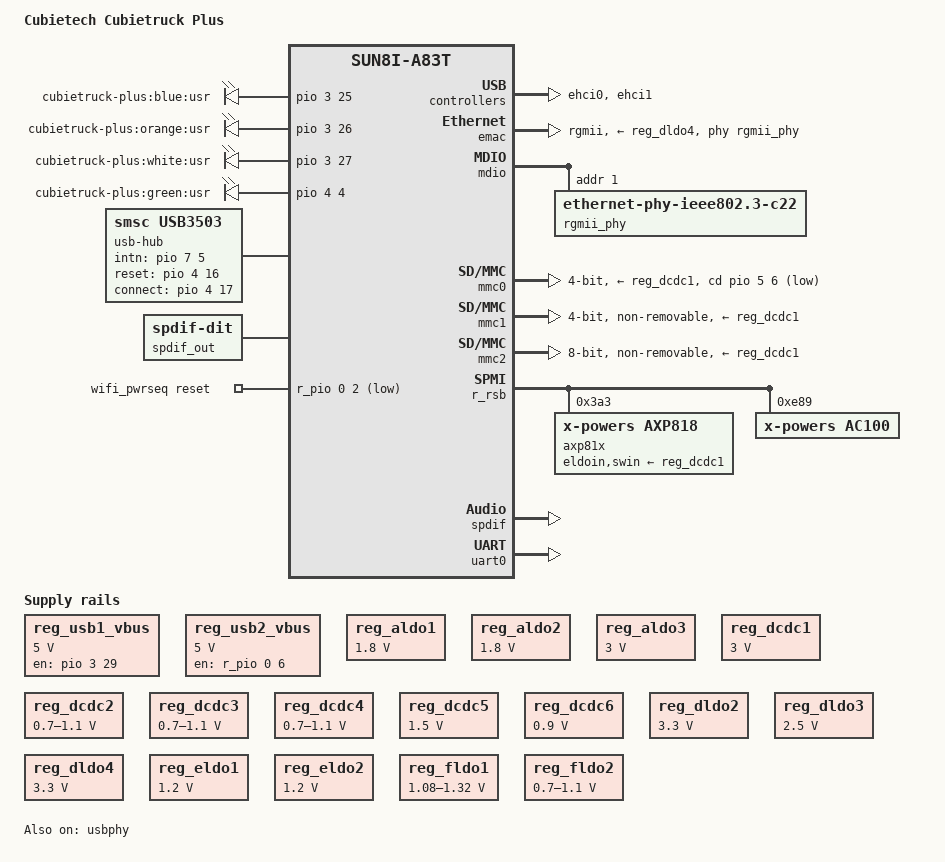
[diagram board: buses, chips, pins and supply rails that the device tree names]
/*
 * Copyright 2015 Chen-Yu Tsai
 *
 * Chen-Yu Tsai <wens@csie.org>
 *
 * This file is dual-licensed: you can use it either under the terms
 * of the GPL or the X11 license, at your option. Note that this dual
 * licensing only applies to this file, and not this project as a
 * whole.
 *
 *  a) This file is free software; you can redistribute it and/or
 *     modify it under the terms of the GNU General Public License as
 *     published by the Free Software Foundation; either version 2 of the
 *     License, or (at your option) any later version.
 *
 *     This file is distributed in the hope that it will be useful,
 *     but WITHOUT ANY WARRANTY; without even the implied warranty of
 *     MERCHANTABILITY or FITNESS FOR A PARTICULAR PURPOSE.  See the
 *     GNU General Public License for more details.
 *
 * Or, alternatively,
 *
 *  b) Permission is hereby granted, free of charge, to any person
 *     obtaining a copy of this software and associated documentation
 *     files (the "Software"), to deal in the Software without
 *     restriction, including without limitation the rights to use,
 *     copy, modify, merge, publish, distribute, sublicense, and/or
 *     sell copies of the Software, and to permit persons to whom the
 *     Software is furnished to do so, subject to the following
 *     conditions:
 *
 *     The above copyright notice and this permission notice shall be
 *     included in all copies or substantial portions of the Software.
 *
 *     THE SOFTWARE IS PROVIDED "AS IS", WITHOUT WARRANTY OF ANY KIND,
 *     EXPRESS OR IMPLIED, INCLUDING BUT NOT LIMITED TO THE WARRANTIES
 *     OF MERCHANTABILITY, FITNESS FOR A PARTICULAR PURPOSE AND
 *     NONINFRINGEMENT. IN NO EVENT SHALL THE AUTHORS OR COPYRIGHT
 *     HOLDERS BE LIABLE FOR ANY CLAIM, DAMAGES OR OTHER LIABILITY,
 *     WHETHER IN AN ACTION OF CONTRACT, TORT OR OTHERWISE, ARISING
 *     FROM, OUT OF OR IN CONNECTION WITH THE SOFTWARE OR THE USE OR
 *     OTHER DEALINGS IN THE SOFTWARE.
 */

/dts-v1/;
#include "sun8i-a83t.dtsi"

#include <dt-bindings/gpio/gpio.h>

/ {
	model = "Cubietech Cubietruck Plus";
	compatible = "cubietech,cubietruck-plus", "allwinner,sun8i-a83t";

	aliases {
		ethernet0 = &emac;
		serial0 = &uart0;
	};

	chosen {
		stdout-path = "serial0:115200n8";
	};

	leds {
		compatible = "gpio-leds";

		blue {
			label = "cubietruck-plus:blue:usr";
			gpios = <&pio 3 25 GPIO_ACTIVE_HIGH>; /* PD25 */
		};

		orange {
			label = "cubietruck-plus:orange:usr";
			gpios = <&pio 3 26 GPIO_ACTIVE_HIGH>; /* PD26 */
		};

		white {
			label = "cubietruck-plus:white:usr";
			gpios = <&pio 3 27 GPIO_ACTIVE_HIGH>; /* PD27 */
		};

		green {
			label = "cubietruck-plus:green:usr";
			gpios = <&pio 4 4 GPIO_ACTIVE_HIGH>; /* PE4 */
		};
	};

	usb-hub {
		/* I2C is not connected */
		compatible = "smsc,usb3503";
		initial-mode = <1>; /* initialize in HUB mode */
		disabled-ports = <1>;
		intn-gpios = <&pio 7 5 GPIO_ACTIVE_HIGH>; /* PH5 */
		reset-gpios = <&pio 4 16 GPIO_ACTIVE_HIGH>; /* PE16 */
		connect-gpios = <&pio 4 17 GPIO_ACTIVE_HIGH>; /* PE17 */
		refclk-frequency = <19200000>;
	};

	reg_usb1_vbus: reg-usb1-vbus {
		compatible = "regulator-fixed";
		regulator-name = "usb1-vbus";
		regulator-min-microvolt = <5000000>;
		regulator-max-microvolt = <5000000>;
		regulator-boot-on;
		enable-active-high;
		gpio = <&pio 3 29 GPIO_ACTIVE_HIGH>; /* PD29 */
	};

	reg_usb2_vbus: reg-usb2-vbus {
		compatible = "regulator-fixed";
		regulator-name = "usb2-vbus";
		regulator-min-microvolt = <5000000>;
		regulator-max-microvolt = <5000000>;
		regulator-boot-on;
		enable-active-high;
		gpio = <&r_pio 0 6 GPIO_ACTIVE_HIGH>; /* PL6 */
	};

	sound {
		compatible = "simple-audio-card";
		simple-audio-card,name = "On-board SPDIF";

		simple-audio-card,cpu {
			sound-dai = <&spdif>;
		};

		simple-audio-card,codec {
			sound-dai = <&spdif_out>;
		};
	};

	spdif_out: spdif-out {
		#sound-dai-cells = <0>;
		compatible = "linux,spdif-dit";
	};

	wifi_pwrseq: wifi_pwrseq {
		compatible = "mmc-pwrseq-simple";
		clocks = <&ac100_rtc 1>;
		clock-names = "ext_clock";
		/* The WiFi low power clock must be 32768 Hz */
		assigned-clocks = <&ac100_rtc 1>;
		assigned-clock-rates = <32768>;
		/* enables internal regulator and de-asserts reset */
		reset-gpios = <&r_pio 0 2 GPIO_ACTIVE_LOW>; /* PL2 WL-PMU-EN */
	};
};

&ehci0 {
	/* GL830 USB-to-SATA bridge here */
	status = "okay";
};

&ehci1 {
	/* USB3503 HSIC USB 2.0 hub here */
	status = "okay";
};

&emac {
	pinctrl-names = "default";
	pinctrl-0 = <&emac_rgmii_pins>;
	phy-supply = <&reg_dldo4>;
	phy-handle = <&rgmii_phy>;
	phy-mode = "rgmii";
	status = "okay";
};

&mdio {
	rgmii_phy: ethernet-phy@1 {
		compatible = "ethernet-phy-ieee802.3-c22";
		reg = <1>;
	};
};

&mmc0 {
	pinctrl-names = "default";
	pinctrl-0 = <&mmc0_pins>;
	vmmc-supply = <&reg_dcdc1>;
	bus-width = <4>;
	cd-gpios = <&pio 5 6 GPIO_ACTIVE_LOW>; /* PF6 */
	status = "okay";
};

&mmc1 {
	vmmc-supply = <&reg_dcdc1>;
	vqmmc-supply = <&reg_sw>;
	mmc-pwrseq = <&wifi_pwrseq>;
	bus-width = <4>;
	non-removable;
	status = "okay";
};

&mmc2 {
	pinctrl-names = "default";
	pinctrl-0 = <&mmc2_8bit_emmc_pins>;
	vmmc-supply = <&reg_dcdc1>;
	bus-width = <8>;
	non-removable;
	cap-mmc-hw-reset;
	status = "okay";
};

&r_rsb {
	status = "okay";

	axp81x: pmic@3a3 {
		compatible = "x-powers,axp818", "x-powers,axp813";
		reg = <0x3a3>;
		interrupt-parent = <&r_intc>;
		interrupts = <0 IRQ_TYPE_LEVEL_LOW>;
		eldoin-supply = <&reg_dcdc1>;
		swin-supply = <&reg_dcdc1>;
		x-powers,drive-vbus-en;
	};

	ac100: codec@e89 {
		compatible = "x-powers,ac100";
		reg = <0xe89>;

		ac100_codec: codec {
			compatible = "x-powers,ac100-codec";
			interrupt-parent = <&r_pio>;
			interrupts = <0 11 IRQ_TYPE_LEVEL_LOW>; /* PL11 */
			#clock-cells = <0>;
			clock-output-names = "4M_adda";
		};

		ac100_rtc: rtc {
			compatible = "x-powers,ac100-rtc";
			interrupt-parent = <&r_intc>;
			interrupts = <0 IRQ_TYPE_LEVEL_LOW>;
			clocks = <&ac100_codec>;
			#clock-cells = <1>;
			clock-output-names = "cko1_rtc",
					     "cko2_rtc",
					     "cko3_rtc";
		};
	};
};

#include "axp81x.dtsi"

&reg_aldo1 {
	regulator-always-on;
	regulator-min-microvolt = <1800000>;
	regulator-max-microvolt = <1800000>;
	regulator-name = "vcc-1v8";
};

&reg_aldo2 {
	regulator-always-on;
	regulator-min-microvolt = <1800000>;
	regulator-max-microvolt = <1800000>;
	regulator-name = "dram-pll";
};

&reg_aldo3 {
	regulator-always-on;
	regulator-min-microvolt = <3000000>;
	regulator-max-microvolt = <3000000>;
	regulator-name = "avcc";
};

&reg_dcdc1 {
	/*
	 * The schematics say this should be 3.3V, but the FEX file says
	 * it should be 3V. The latter makes sense, as the WiFi module's
	 * I/O is indirectly powered from DCDC1, through SW. It is rated
	 * at 2.98V maximum.
	 */
	regulator-always-on;
	regulator-min-microvolt = <3000000>;
	regulator-max-microvolt = <3000000>;
	regulator-name = "vcc-3v";
};

&reg_dcdc2 {
	regulator-always-on;
	regulator-min-microvolt = <700000>;
	regulator-max-microvolt = <1100000>;
	regulator-name = "vdd-cpua";
};

&reg_dcdc3 {
	regulator-always-on;
	regulator-min-microvolt = <700000>;
	regulator-max-microvolt = <1100000>;
	regulator-name = "vdd-cpub";
};

&reg_dcdc4 {
	regulator-min-microvolt = <700000>;
	regulator-max-microvolt = <1100000>;
	regulator-name = "vdd-gpu";
};

&reg_dcdc5 {
	regulator-always-on;
	regulator-min-microvolt = <1500000>;
	regulator-max-microvolt = <1500000>;
	regulator-name = "vcc-dram";
};

&reg_dcdc6 {
	regulator-always-on;
	regulator-min-microvolt = <900000>;
	regulator-max-microvolt = <900000>;
	regulator-name = "vdd-sys";
};

&reg_dldo2 {
	regulator-min-microvolt = <3300000>;
	regulator-max-microvolt = <3300000>;
	regulator-name = "dp-pwr";
};

&reg_dldo3 {
	regulator-always-on;
	regulator-min-microvolt = <2500000>;
	regulator-max-microvolt = <2500000>;
	regulator-name = "ephy-io";
};

&reg_dldo4 {
	/*
	 * The PHY requires 20ms after all voltages are applied until core
	 * logic is ready and 30ms after the reset pin is de-asserted.
	 * Set a 100ms delay to account for PMIC ramp time and board traces.
	 */
	regulator-enable-ramp-delay = <100000>;
	regulator-min-microvolt = <3300000>;
	regulator-max-microvolt = <3300000>;
	regulator-name = "ephy";
};

&reg_drivevbus {
	regulator-name = "usb0-vbus";
	status = "okay";
};

&reg_eldo1 {
	regulator-min-microvolt = <1200000>;
	regulator-max-microvolt = <1200000>;
	regulator-name = "dp-bridge-1";
};

&reg_eldo2 {
	regulator-min-microvolt = <1200000>;
	regulator-max-microvolt = <1200000>;
	regulator-name = "dp-bridge-2";
};

&reg_fldo1 {
	/* TODO should be handled by USB PHY */
	regulator-always-on;
	regulator-min-microvolt = <1080000>;
	regulator-max-microvolt = <1320000>;
	regulator-name = "vdd12-hsic";
};

&reg_fldo2 {
	/*
	 * Despite the embedded CPUs core not being used in any way,
	 * this must remain on or the system will hang.
	 */
	regulator-always-on;
	regulator-min-microvolt = <700000>;
	regulator-max-microvolt = <1100000>;
	regulator-name = "vdd-cpus";
};

&reg_rtc_ldo {
	regulator-name = "vcc-rtc";
};

&reg_sw {
	regulator-name = "vcc-wifi-io";
};

&spdif {
	status = "okay";
};

&uart0 {
	pinctrl-names = "default";
	pinctrl-0 = <&uart0_pb_pins>;
	status = "okay";
};

&usbphy {
	usb1_vbus-supply = <&reg_usb1_vbus>;
	usb2_vbus-supply = <&reg_usb2_vbus>;
	status = "okay";
};
